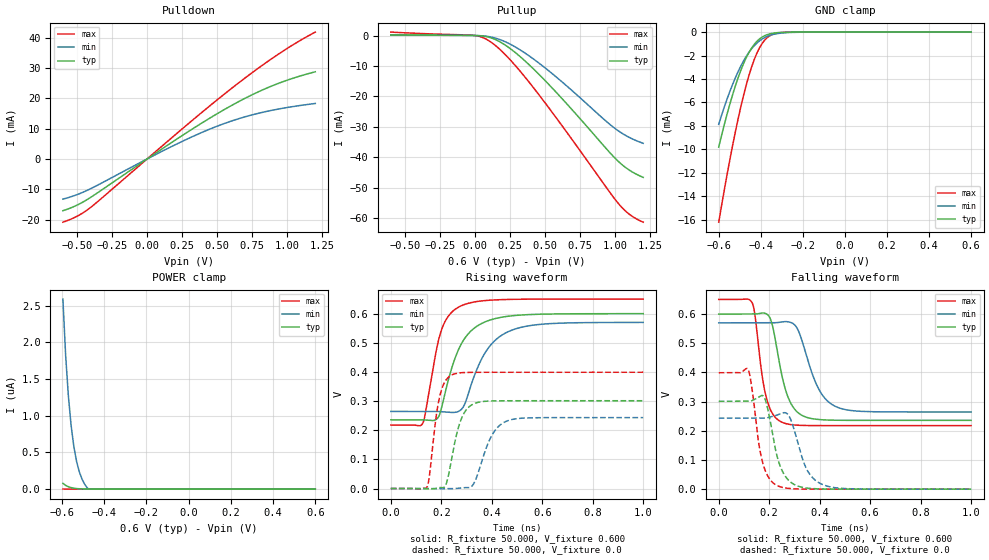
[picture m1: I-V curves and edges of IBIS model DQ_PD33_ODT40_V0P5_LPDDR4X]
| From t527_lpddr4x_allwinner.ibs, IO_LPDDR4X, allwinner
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|   Model DQ_PD33_ODT40_V0P5_LPDDR4X
[Model] DQ_PD33_ODT40_V0P5_LPDDR4X
Model_type I/O
Polarity   Non-Inverting
Enable   Active-Low
Vinl =  0.300V
Vinh =  0.300V
C_comp   1.493pF   1.451pF   1.551pF
C_comp_pulldown   0.750pF   0.721pF   0.787pF
[Model Spec]
Vinh   0.300V   0.285V   0.325V
Vinl   0.300V   0.285V   0.325V
[Temperature Range]   25.000   0.125k   -40.000
[Voltage Range]   0.600V   0.570V   0.650V
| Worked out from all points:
|   slope of the pulldown table from 0 to 0.09 V, typ, clamps not added: 32 ohm
|   slope of the pullup table from 0 to 0.09 V, typ, clamps not added: 198 ohm
|   GND clamp passes 1 mA (typ) near -0.43 V on its own axis
|   rising waveform, R_fixture 50.000, V_fixture 0.600: 20-80 % time 93.8ps typ, 107ps min, 63.6ps max; typ from 0.236 V to 0.6 V
|   rising waveform, R_fixture 50.000, V_fixture 0.0: 20-80 % time 48.3ps typ, 65ps min, 36.7ps max; typ from 0 V to 0.301 V
|   falling waveform, R_fixture 50.000, V_fixture 0.600: 20-80 % time 56.7ps typ, 78.3ps min, 43.2ps max; typ from 0.6 V to 0.236 V
|   falling waveform, R_fixture 50.000, V_fixture 0.0: 20-80 % time 50.6ps typ, 60.7ps min, 42ps max; typ from 0.301 V to 0 V
[Pulldown]
|Voltage   I(typ)   I(min)   I(max)
-600mV    -17.06mA   -13.23mA   -20.84mA
-486mV    -14.92mA   -11.52mA   -18.56mA
-391mV    -12.32mA   -9.534mA   -15.56mA
179mV     5.558mA    4.203mA    7.119mA
369mV     11.24mA    8.319mA    14.54mA
521mV     15.51mA    11.19mA    20.29mA
692mV     19.87mA    13.83mA    26.48mA
863mV     23.58mA    15.8mA     32.26mA
1.034V    26.54mA    17.25mA    37.48mA
1.2V      28.78mA    18.33mA    41.87mA
[Pullup]
|Voltage   I(typ)   I(min)   I(max)
-600mV    213.8uA    167.3uA    1.124mA
3mV       -3.94uA    -3.607uA   -19.46uA
60mV      -193.1uA   -141.5uA   -752.2uA
136mV     -1.136mA   -729.4uA   -2.911mA
193mV     -2.48mA    -1.6mA     -5.221mA
269mV     -4.918mA   -3.281mA   -8.89mA
440mV     -12mA      -8.5mA     -18.5mA
630mV     -21.19mA   -15.6mA    -30.21mA
934mV     -37.05mA   -28.12mA   -49.75mA
1.029V    -41.65mA   -31.53mA   -55.56mA
1.105V    -44.37mA   -33.6mA    -58.88mA
1.2V      -46.62mA   -35.42mA   -61.36mA
[GND_clamp]
|Voltage   I(typ)   I(min)   I(max)
-600mV    -9.815mA   -7.875mA   -16.22mA
-561mV    -7.046mA   -5.746mA   -12.23mA
-535mV    -5.403mA   -4.507mA   -9.766mA
-496mV    -3.316mA   -2.935mA   -6.457mA
-470mV    -2.216mA   -2.096mA   -4.569mA
-444mV    -1.371mA   -1.428mA   -2.993mA
-418mV    -778.9uA   -926.6uA   -1.774mA
-392mV    -406.1uA   -573.1uA   -928uA
-366mV    -197uA     -340uA     -421.7uA
-327mV    -60.99uA   -147uA     -102.9uA
-275mV    -11.95uA   -46.19uA   -12.78uA
600mV     -16.32nA   -580.9nA   -530.8pA
[POWER_clamp]
|Voltage   I(typ)   I(min)   I(max)
-596mV    80.11nA    2.59uA     2.718nA
-583mV    51.54nA    1.823uA    1.849nA
-570mV    33.02nA    1.267uA    1.347nA
-557mV    21.05nA    865.5nA    1.054nA
-544mV    13.37nA    578.4nA    882.1pA
-531mV    8.471nA    375.5nA    779.4pA
-518mV    5.383nA    233.4nA    714.2pA
-505mV    3.418nA    134nA      667.8pA
-492mV    2.102nA    63.17nA    630.5pA
-479mV    1.14nA     10.45nA    598.7pA
-466mV    372.9pA    0A         570.6pA
600mV     0A         0A         0A
[Ramp]
| variable   typ   min   max
dV/dt_r   0.181/48.406p   0.146/65.014p   0.239/36.784p
dV/dt_f   0.219/56.837p   0.183/78.384p   0.259/43.409p
R_load = 50.000
[Rising Waveform]
R_fixture= 50.000
V_fixture= 0.600
V_fixture_min= 0.570
V_fixture_max= 0.650
|time   V(typ)   V(min)   V(max)
0s        235.7mV    264.5mV    217.7mV
126ps     235.9mV    264.5mV    223mV
177ps     235.7mV    264.5mV    459.3mV
198ps     266.8mV    263.7mV    536.7mV
238ps     403.7mV    261.1mV    601.9mV
274ps     487.3mV    267.5mV    624.9mV
371ps     570.8mV    462.1mV    644.7mV
460ps     590.5mV    536mV      648.6mV
614ps     598.5mV    564.8mV    649.9mV
1ns       599.9mV    569.9mV    650mV
[Rising Waveform]
R_fixture= 50.000
V_fixture= 0.0
V_fixture_min= 0.0
V_fixture_max= 0.0
|time   V(typ)   V(min)   V(max)
0s        1.738uV    44.7uV     117.8nV
143ps     -346uV     121.8uV    3.855mV
193ps     3.087mV    283.2uV    313.3mV
219ps     15.15mV    -359.1uV   372.7mV
243ps     111.4mV    -666.5uV   390.2mV
272ps     221.3mV    1.392mV    396.6mV
306ps     277.1mV    2.931mV    398.4mV
403ps     300.5mV    186.3mV    398.9mV
461ps     301.1mV    231.9mV    398.9mV
1ns       301.2mV    243.2mV    398.9mV
[Falling Waveform]
R_fixture= 50.000
V_fixture= 0.600
V_fixture_min= 0.570
V_fixture_max= 0.650
|time   V(typ)   V(min)   V(max)
0s        600mV      570mV      650mV
132ps     600.5mV    569.9mV    639.5mV
187ps     601.3mV    570mV      319.2mV
211ps     566.9mV    570.3mV    261.9mV
247ps     403.2mV    572.6mV    230.8mV
275ps     314.3mV    573.5mV    222.8mV
312ps     263.7mV    549.1mV    219.2mV
393ps     238.9mV    348.4mV    217.8mV
462ps     236.2mV    283.7mV    217.7mV
1ns       235.7mV    264.5mV    217.7mV
[Falling Waveform]
R_fixture= 50.000
V_fixture= 0.0
V_fixture_min= 0.0
V_fixture_max= 0.0
|time   V(typ)   V(min)   V(max)
0s        301.2mV    243.2mV    398.9mV
117ps     301.6mV    243.2mV    408.9mV
129ps     302.4mV    243.2mV    359.9mV
172ps     321mV      243.6mV    98.14mV
191ps     286.7mV    244.3mV    50.34mV
233ps     106.8mV    254.4mV    11.67mV
277ps     30.22mV    252.5mV    2.565mV
349ps     3.862mV    67.4mV     224.9uV
417ps     565.2uV    13.84mV    21.92uV
1ns       1.74uV     44.75uV    116.8nV
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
